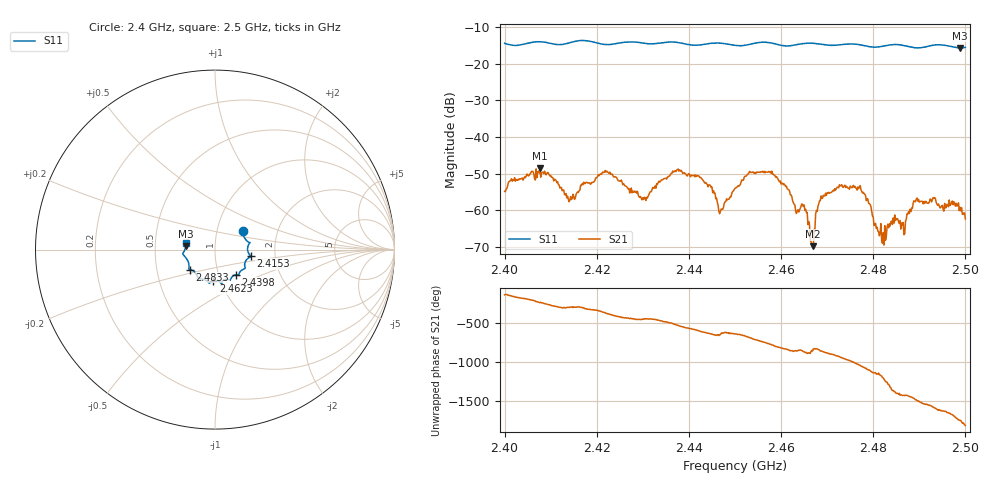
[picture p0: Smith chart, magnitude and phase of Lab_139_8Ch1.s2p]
# Hz S RI R 50
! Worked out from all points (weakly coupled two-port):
!   601 points, 2.4 GHz to 2.5 GHz, reference 50 ohm
!   highest |S21| = -48.59 dB at 2.4077 GHz (marker M1); lowest = -69.8 dB at 2.4668 GHz (marker M2)
!   lowest |S11| = -15.7 dB at 2.4988 GHz (marker M3), VSWR 1.39, Z = 36 + j1.38 ohm
!   |S11| at or under -10 dB: start of sweep to end of sweep
!   S12 and S22 are empty: the file has one direction only
!   S11 on the Smith chart (normalised r, x): 2.4 GHz: 1.33, +0.29; 2.4153 GHz: 1.49, -0.11; 2.4398 GHz: 1.21, -0.35; 2.4623 GHz: 0.92, -0.34; 2.4833 GHz: 0.74, -0.17; 2.5 GHz: 0.72, +0.06
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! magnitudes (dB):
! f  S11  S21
! 2.4 GHz  -14.5  -54.8
! 2.4077 GHz  -14.0  -48.6
! 2.4153 GHz  -13.9  -56.7
! 2.4167 GHz  -13.7  -53.2
! 2.4302 GHz  -14.4  -57.0
! 2.4333 GHz  -14.4  -52.4
! 2.4398 GHz  -14.8  -50.1
! 2.447 GHz  -14.4  -59.6
! 2.45 GHz  -15.0  -54.0
! 2.4575 GHz  -14.3  -49.6
! 2.4623 GHz  -15.1  -56.3
! 2.4652 GHz  -14.5  -60.0
! 2.4667 GHz  -14.4  -69.2
! 2.4668 GHz  -14.4  -69.8
! 2.4687 GHz  -14.7  -56.1
! 2.4727 GHz  -14.9  -53.0
! 2.4775 GHz  -15.0  -54.8
! 2.4818 GHz  -15.3  -68.3
! 2.4833 GHz  -15.0  -64.8
! 2.4893 GHz  -15.7  -57.0
! 2.4988 GHz  -15.7  -59.2
! 2.5 GHz  -15.6  -62.4
